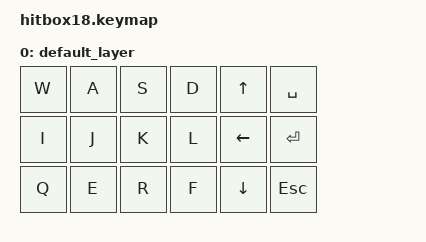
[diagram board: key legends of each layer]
/ {
    keymap {
        compatible = "zmk,keymap";
        default_layer {
            bindings = <
    &kp W    &kp A    &kp S    &kp D    &kp UP_ARROW   &kp SPACE
    &kp I    &kp J    &kp K    &kp L    &kp LEFT_ARROW &kp ENTER
    &kp Q    &kp E    &kp R    &kp F    &kp DOWN_ARROW &kp ESCAPE
            >;
        };
    };
};
